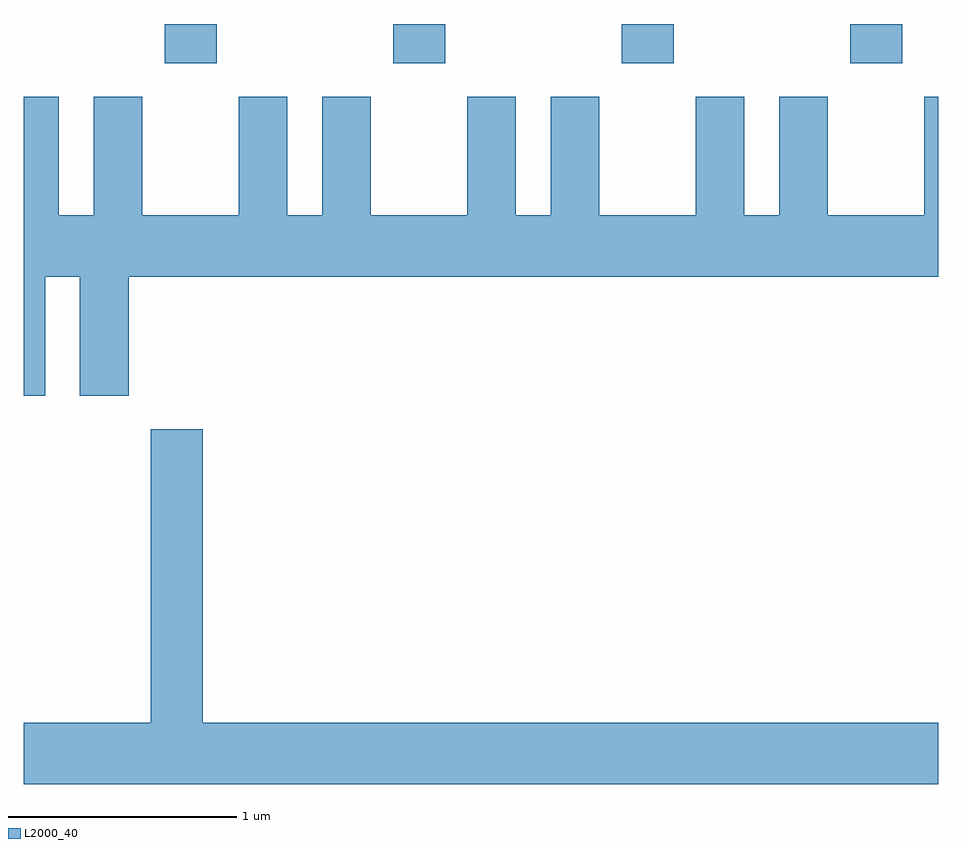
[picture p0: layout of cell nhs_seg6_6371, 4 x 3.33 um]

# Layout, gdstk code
import gdstk
lib = gdstk.Library(unit=1e-6, precision=1e-09)
def R(c, l, rs):  # rectangles x0, y0, x1, y1
    for r in rs: c.add(gdstk.rectangle(r[:2], r[2:], *l))
def A(c, l, x, y, w, h, nx, ny, dx, dy):  # array of equal rectangles
    R(c, l, [(x+i*dx, y+j*dy, x+i*dx+w, y+j*dy+h) for i in range(nx) for j in range(ny)])
def P(c, l, *ps):  # polygons
    for p in ps: c.add(gdstk.Polygon(p, *l))
L2000_40 = (2000, 40)

nhs_seg6_6371 = lib.new_cell('nhs_seg6_6371')
A(nhs_seg6_6371, L2000_40, 378.226, 1641.991, 0.228, 0.171, 4, 1, 1, 0)
P(nhs_seg6_6371, L2000_40, [(377.704,1641.056),(377.856,1641.056),(377.856,1640.536),(378.069,1640.536),(378.069,1641.056),(381.611,1641.056),(381.611,1641.844),(381.551,1641.844),(381.551,1641.324),(381.129,1641.324),(381.129,1641.844),(380.916,1641.844),(380.916,1641.324),(380.764,1641.324),(380.764,1641.844),(380.551,1641.844),(380.551,1641.324),(380.129,1641.324),(380.129,1641.844),(379.916,1641.844),(379.916,1641.324),(379.764,1641.324),(379.764,1641.844),(379.551,1641.844),(379.551,1641.324),(379.129,1641.324),(379.129,1641.844),(378.916,1641.844),(378.916,1641.324),(378.764,1641.324),(378.764,1641.844),(378.551,1641.844),(378.551,1641.324),(378.129,1641.324),(378.129,1641.844),(377.916,1641.844),(377.916,1641.324),(377.764,1641.324),(377.764,1641.844),(377.611,1641.844),(377.611,1640.536),(377.704,1640.536)],
  [(381.611,1639.104),(378.394,1639.104),(378.394,1640.389),(378.166,1640.389),(378.166,1639.104),(377.611,1639.104),(377.611,1638.836),(381.611,1638.836)])

lib.write_gds('nhs_seg6_6371.gds')
